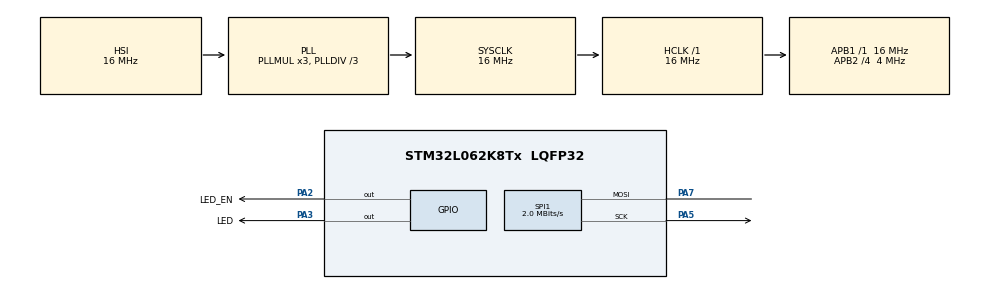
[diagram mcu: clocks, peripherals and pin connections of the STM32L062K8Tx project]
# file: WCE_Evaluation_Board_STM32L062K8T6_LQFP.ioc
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Dma.Request0=SPI1_RX
Dma.Request1=SPI1_TX
Dma.SPI1_RX.0.Direction=DMA_PERIPH_TO_MEMORY
Dma.SPI1_RX.0.Instance=DMA1_Channel2
Dma.SPI1_RX.0.MemDataAlignment=DMA_MDATAALIGN_BYTE
Dma.SPI1_RX.0.MemInc=DMA_MINC_ENABLE
Dma.SPI1_RX.0.Mode=DMA_NORMAL
Dma.SPI1_RX.0.PeriphDataAlignment=DMA_PDATAALIGN_BYTE
Dma.SPI1_RX.0.PeriphInc=DMA_PINC_DISABLE
Dma.SPI1_RX.0.Priority=DMA_PRIORITY_LOW
Dma.SPI1_TX.1.Direction=DMA_MEMORY_TO_PERIPH
Dma.SPI1_TX.1.Instance=DMA1_Channel3
Dma.SPI1_TX.1.MemDataAlignment=DMA_MDATAALIGN_BYTE
Dma.SPI1_TX.1.MemInc=DMA_MINC_ENABLE
Dma.SPI1_TX.1.Mode=DMA_NORMAL
Dma.SPI1_TX.1.PeriphDataAlignment=DMA_PDATAALIGN_BYTE
Dma.SPI1_TX.1.PeriphInc=DMA_PINC_DISABLE
Dma.SPI1_TX.1.Priority=DMA_PRIORITY_LOW
Mcu.Family=STM32L0
Mcu.Name=STM32L062K8Tx
Mcu.Package=LQFP32
NVIC.DMA1_Channel2_3_IRQn=true\:0\:0\:false\:false\:true\:false\:true
NVIC.TIM2_IRQn=true\:0\:0\:false\:false\:true\:true\:true
PA13.Mode=Serial_Wire
PA13.Signal=SYS_SWDIO
PA14.Mode=Serial_Wire
PA14.Signal=SYS_SWCLK
PA2.GPIO_Label=LED_EN
PA2.Signal=GPIO_Output
PA3.GPIO_Label=LED
PA3.Signal=GPIO_Output
PA5.Mode=Simplex_Bidirectional_Master
PA5.Signal=SPI1_SCK
PA7.Mode=Simplex_Bidirectional_Master
PA7.Signal=SPI1_MOSI
ProjectManager.HeapSize=0x200
ProjectManager.StackSize=0x400
ProjectManager.TargetToolchain=STM32CubeIDE
RCC.AHBFreq_Value=16000000
RCC.APB1Freq_Value=16000000
RCC.APB1TimFreq_Value=16000000
RCC.APB2CLKDivider=RCC_HCLK_DIV4
RCC.APB2Freq_Value=4000000
RCC.APB2TimFreq_Value=8000000
RCC.HCLKFreq_Value=16000000
RCC.HSI16_VALUE=16000000
RCC.HSI48_VALUE=48000000
RCC.HSI_VALUE=16000000
RCC.LSE_VALUE=32768
RCC.MSI_VALUE=2097000
RCC.PLLDIV=RCC_PLLDIV_3
RCC.SYSCLKFreq_VALUE=16000000
RCC.SYSCLKSource=RCC_SYSCLKSOURCE_PLLCLK
RCC.VCOOutputFreq_Value=48000000
SPI1.BaudRatePrescaler=SPI_BAUDRATEPRESCALER_2
SPI1.CalculateBaudRate=2.0 MBits/s
SPI1.Direction=SPI_DIRECTION_1LINE
SPI1.Mode=SPI_MODE_MASTER
SPI1.VirtualType=VM_MASTER
TIM2.Period=100
TIM2.Prescaler=4
VP_TIM2_VS_ClockSourceINT.Mode=Internal
board=custom

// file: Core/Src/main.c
/* USER CODE BEGIN Header */
/**
  ******************************************************************************
  * @file           : main.c
  * @brief          : Main program body
  ******************************************************************************
  * @attention
  *
  * <h2><center>&copy; Copyright (c) 2021 STMicroelectronics.
  * All rights reserved.</center></h2>
  *
  * This software component is licensed by ST under BSD 3-Clause license,
  * the "License"; You may not use this file except in compliance with the
  * License. You may obtain a copy of the License at:
  *                        opensource.org/licenses/BSD-3-Clause
  *
  ******************************************************************************
  */
/* USER CODE END Header */
#include "main.h"

SPI_HandleTypeDef hspi1;
DMA_HandleTypeDef hdma_spi1_rx;
DMA_HandleTypeDef hdma_spi1_tx;

TIM_HandleTypeDef htim2;

void SystemClock_Config(void);
static void MX_GPIO_Init(void);
static void MX_DMA_Init(void);
static void MX_SPI1_Init(void);
static void MX_TIM2_Init(void);
/* USER CODE BEGIN PFP */
static void Toggle_GPIO_pin_Init(void);
/* USER CODE END PFP */

/* USER CODE BEGIN 0 */
uint8_t ui8TimPulse = 75; // set duty cycle [%]
/* USER CODE END 0 */

int main(void)
{
  /* USER CODE BEGIN 1 */
	//Due to small ram (8KB) we must divide frame array by 32 (157440/32=4920)
	//The resulting problem with this is that the beginning of every 10th row will be over exposed.
	//uint8_t received_data[4920] = {0}; // size of one frame: 157440
	//uint8_t test[2000] = {0}; //2000 gives hard fault. 1000 does not. Seems like the RAM is the limitation.

	uint8_t received_data[4920] = {0};  //320*492 = 157440    157440/32 = 4920
	uint8_t empty_data[966] = {0};
	uint8_t test_pattern[6];
	test_pattern[0] = 0b10010000;
	test_pattern[1] = 0b11000001;
	test_pattern[2] = 0b00101010;
	test_pattern[3] = 0b10010010;
	test_pattern[4] = 0b00000101;
	test_pattern[5] = 0b00101000;

	uint8_t on_time = 0;
	uint8_t off_time = 0;
	double period = 50; //ms

	double duty = 100;

  /* USER CODE END 1 */

  /* MCU Configuration--------------------------------------------------------*/

  /* Reset of all peripherals, Initializes the Flash interface and the Systick. */
  HAL_Init();

  /* Configure the system clock */
  SystemClock_Config();

  /* Initialize all configured peripherals */
  MX_GPIO_Init();
  MX_DMA_Init();
  MX_SPI1_Init();
  MX_TIM2_Init();
  /* USER CODE BEGIN 2 */

  on_time = period * (duty/100);
  off_time = period * (1-(duty/100));

//  HAL_TIM_Base_Start_IT(&htim2);
//  HAL_TIM_PWM_Start(&htim2, TIM_CHANNEL_4);

  //---- TURN ON CAMERA LEDs ----
 // HAL_GPIO_WritePin(LED_GPIO_Port, LED_Pin, GPIO_PIN_SET);

 // ---- ACTIVATION CLOCK PULSE -----
    HAL_SPI_DeInit(&hspi1);
    Toggle_GPIO_pin_Init();
    GPIOA -> ODR ^= GPIO_PIN_5;
    HAL_Delay(1);
    GPIOA -> ODR ^= GPIO_PIN_5;

    //---- REGISTER CONFIGURATION - 48-bit (4PP) -----
    MX_SPI1_Init();
    HAL_SPI_Transmit(&hspi1, test_pattern, 6, 1000);

    //---- WAIT FOR IDLE START-UP ----
    HAL_Delay(1);

    //---- 10 CLOCKS -----
    HAL_SPI_DeInit(&hspi1);
    Toggle_GPIO_pin_Init();
    for (uint8_t i = 0; i < 20; i++)
      {
  	  HAL_GPIO_TogglePin(GPIOA, GPIO_PIN_5);
  	  HAL_Delay(1);
      }

    //---- 12 CLOCKS -----
    for (uint8_t i = 0; i < 24; i++)
      {
  	  HAL_GPIO_TogglePin(GPIOA, GPIO_PIN_5);
  	  HAL_Delay(1);
      }

    //---- INITIAL PRE-SYNC MODE: RECEIVE 492 PP FROM CAMERA -----
    MX_DMA_Init();
    MX_SPI1_Init();
    HAL_SPI_Receive(&hspi1, received_data, 492, 100);

    //---- SYNC MODE -----
    HAL_SPI_Receive(&hspi1, received_data, 984, 100);

    //---- DELAY MODE -----
    HAL_SPI_Receive(&hspi1, received_data, 984, 100);

    //---- READOUT MODE -----
    HAL_SPI_Receive(&hspi1, received_data, 4920, 100); // 1
    HAL_SPI_Receive(&hspi1, received_data, 4920, 100); // 2
    HAL_SPI_Receive(&hspi1, received_data, 4920, 100); // 3
    HAL_SPI_Receive(&hspi1, received_data, 4920, 100); // 4
    HAL_SPI_Receive(&hspi1, received_data, 4920, 100); // 5
    HAL_SPI_Receive(&hspi1, received_data, 4920, 100); // 6
    HAL_SPI_Receive(&hspi1, received_data, 4920, 100); // 7
    HAL_SPI_Receive(&hspi1, received_data, 4920, 100); // 8
    HAL_SPI_Receive(&hspi1, received_data, 4920, 100); // 9
    HAL_SPI_Receive(&hspi1, received_data, 4920, 100); // 10
    HAL_SPI_Receive(&hspi1, received_data, 4920, 100); // 11
    HAL_SPI_Receive(&hspi1, received_data, 4920, 100); // 12
    HAL_SPI_Receive(&hspi1, received_data, 4920, 100); // 13
    HAL_SPI_Receive(&hspi1, received_data, 4920, 100); // 14
    HAL_SPI_Receive(&hspi1, received_data, 4920, 100); // 15
    HAL_SPI_Receive(&hspi1, received_data, 4920, 100); // 16
    HAL_SPI_Receive(&hspi1, received_data, 4920, 100); // 17
    HAL_SPI_Receive(&hspi1, received_data, 4920, 100); // 18
    HAL_SPI_Receive(&hspi1, received_data, 4920, 100); // 19
    HAL_SPI_Receive(&hspi1, received_data, 4920, 100); // 20
    HAL_SPI_Receive(&hspi1, received_data, 4920, 100); // 21
    HAL_SPI_Receive(&hspi1, received_data, 4920, 100); // 22
    HAL_SPI_Receive(&hspi1, received_data, 4920, 100); // 23
    HAL_SPI_Receive(&hspi1, received_data, 4920, 100); // 24
    HAL_SPI_Receive(&hspi1, received_data, 4920, 100); // 25
    HAL_SPI_Receive(&hspi1, received_data, 4920, 100); // 26
    HAL_SPI_Receive(&hspi1, received_data, 4920, 100); // 27
    HAL_SPI_Receive(&hspi1, received_data, 4920, 100); // 28
    HAL_SPI_Receive(&hspi1, received_data, 4920, 100); // 29
    HAL_SPI_Receive(&hspi1, received_data, 4920, 100); // 30
    HAL_SPI_Receive(&hspi1, received_data, 4920, 100); // 31
    HAL_SPI_Receive(&hspi1, received_data, 4920, 100); // 32

    //---- END OF FRAME -----
    HAL_SPI_Receive(&hspi1, received_data, 8, 100);

  /* USER CODE END 2 */

  /* Infinite loop */
  /* USER CODE BEGIN WHILE */
  while (1)
  {
	  /*LED brightness control*/
//	  GPIOA->BSRR =(1<<2);
//	  HAL_Delay(on_time);
//	  GPIOA->BSRR =(1<<18);
//	  HAL_Delay(off_time);

//	  //---- TURN ON CAMERA LEDs ----
//	  HAL_GPIO_WritePin(LED_GPIO_Port, LED_Pin, GPIO_PIN_SET);
//	  HAL_GPIO_WritePin(LED_GPIO_Port, LED_Pin, GPIO_PIN_RESET);
//	  GPIOA->BSRR =(1<<3);
//	  HAL_Delay(on_time);
//	  GPIOA->BSRR =(1<<19);
//	  HAL_Delay(off_time);
//	  ---- TURN ON EXTRA LEDs ----
//	  HAL_GPIO_WritePin(LED_EN_GPIO_Port, LED_EN_Pin, GPIO_PIN_SET);
//	  HAL_Delay(100);
//	  HAL_GPIO_WritePin(LED_EN_GPIO_Port, LED_EN_Pin, GPIO_PIN_RESET);
//	  HAL_Delay(100);

	  //---- REGISTER CONFIGURATION - 48-bit (4PP) -----
	  HAL_SPI_Transmit(&hspi1, test_pattern, 6, 1000);

	  //---- INTERFACE MODE -----
	  HAL_SPI_Transmit(&hspi1, empty_data, 966, 1000);

	  //---- SYNC and DELAY MODE -----
	  HAL_SPI_Receive(&hspi1, received_data, 1968, 100);

	  //---- READOUT MODE -----
	  HAL_SPI_Receive(&hspi1, received_data, 4920, 100); // 1
	  HAL_SPI_Receive(&hspi1, received_data, 4920, 100); // 2
	  HAL_SPI_Receive(&hspi1, received_data, 4920, 100); // 3
	  HAL_SPI_Receive(&hspi1, received_data, 4920, 100); // 4
	  HAL_SPI_Receive(&hspi1, received_data, 4920, 100); // 5
	  HAL_SPI_Receive(&hspi1, received_data, 4920, 100); // 6
	  HAL_SPI_Receive(&hspi1, received_data, 4920, 100); // 7
	  HAL_SPI_Receive(&hspi1, received_data, 4920, 100); // 8
	  HAL_SPI_Receive(&hspi1, received_data, 4920, 100); // 9
	  HAL_SPI_Receive(&hspi1, received_data, 4920, 100); // 10
	  HAL_SPI_Receive(&hspi1, received_data, 4920, 100); // 11
	  HAL_SPI_Receive(&hspi1, received_data, 4920, 100); // 12
	  HAL_SPI_Receive(&hspi1, received_data, 4920, 100); // 13
	  HAL_SPI_Receive(&hspi1, received_data, 4920, 100); // 14
	  HAL_SPI_Receive(&hspi1, received_data, 4920, 100); // 15
	  HAL_SPI_Receive(&hspi1, received_data, 4920, 100); // 16
	  HAL_SPI_Receive(&hspi1, received_data, 4920, 100); // 17
	  HAL_SPI_Receive(&hspi1, received_data, 4920, 100); // 18
	  HAL_SPI_Receive(&hspi1, received_data, 4920, 100); // 19
	  HAL_SPI_Receive(&hspi1, received_data, 4920, 100); // 20
	  HAL_SPI_Receive(&hspi1, received_data, 4920, 100); // 21
	  HAL_SPI_Receive(&hspi1, received_data, 4920, 100); // 22
	  HAL_SPI_Receive(&hspi1, received_data, 4920, 100); // 23
	  HAL_SPI_Receive(&hspi1, received_data, 4920, 100); // 24
	  HAL_SPI_Receive(&hspi1, received_data, 4920, 100); // 25
	  HAL_SPI_Receive(&hspi1, received_data, 4920, 100); // 26
	  HAL_SPI_Receive(&hspi1, received_data, 4920, 100); // 27
	  HAL_SPI_Receive(&hspi1, received_data, 4920, 100); // 28
	  HAL_SPI_Receive(&hspi1, received_data, 4920, 100); // 29
	  HAL_SPI_Receive(&hspi1, received_data, 4920, 100); // 30
	  HAL_SPI_Receive(&hspi1, received_data, 4920, 100); // 31
	  HAL_SPI_Receive(&hspi1, received_data, 4920, 100); // 32

	  //---- END OF FRAME -----
	  HAL_SPI_Receive(&hspi1, received_data, 12, 100);

    /* USER CODE END WHILE */

  }
}

void SystemClock_Config(void)
{
  RCC_OscInitTypeDef RCC_OscInitStruct = {0};
  RCC_ClkInitTypeDef RCC_ClkInitStruct = {0};

  /** Configure the main internal regulator output voltage
  */
  __HAL_PWR_VOLTAGESCALING_CONFIG(PWR_REGULATOR_VOLTAGE_SCALE1);
  /** Initializes the RCC Oscillators according to the specified parameters
  * in the RCC_OscInitTypeDef structure.
  */
  RCC_OscInitStruct.OscillatorType = RCC_OSCILLATORTYPE_HSI;
  RCC_OscInitStruct.HSIState = RCC_HSI_ON;
  RCC_OscInitStruct.HSICalibrationValue = RCC_HSICALIBRATION_DEFAULT;
  RCC_OscInitStruct.PLL.PLLState = RCC_PLL_ON;
  RCC_OscInitStruct.PLL.PLLSource = RCC_PLLSOURCE_HSI;
  RCC_OscInitStruct.PLL.PLLMUL = RCC_PLLMUL_3;
  RCC_OscInitStruct.PLL.PLLDIV = RCC_PLLDIV_3;
  if (HAL_RCC_OscConfig(&RCC_OscInitStruct) != HAL_OK)
  {
    Error_Handler();
  }
  /** Initializes the CPU, AHB and APB buses clocks
  */
  RCC_ClkInitStruct.ClockType = RCC_CLOCKTYPE_HCLK|RCC_CLOCKTYPE_SYSCLK
                              |RCC_CLOCKTYPE_PCLK1|RCC_CLOCKTYPE_PCLK2;
  RCC_ClkInitStruct.SYSCLKSource = RCC_SYSCLKSOURCE_PLLCLK;
  RCC_ClkInitStruct.AHBCLKDivider = RCC_SYSCLK_DIV1;
  RCC_ClkInitStruct.APB1CLKDivider = RCC_HCLK_DIV1;
  RCC_ClkInitStruct.APB2CLKDivider = RCC_HCLK_DIV4;

  if (HAL_RCC_ClockConfig(&RCC_ClkInitStruct, FLASH_LATENCY_0) != HAL_OK)
  {
    Error_Handler();
  }
}

static void MX_SPI1_Init(void)
{

  /* SPI1 parameter configuration*/
  hspi1.Instance = SPI1;
  hspi1.Init.Mode = SPI_MODE_MASTER;
  hspi1.Init.Direction = SPI_DIRECTION_1LINE;
  hspi1.Init.DataSize = SPI_DATASIZE_8BIT;
  hspi1.Init.CLKPolarity = SPI_POLARITY_LOW;
  hspi1.Init.CLKPhase = SPI_PHASE_1EDGE;
  hspi1.Init.NSS = SPI_NSS_SOFT;
  hspi1.Init.BaudRatePrescaler = SPI_BAUDRATEPRESCALER_2;
  hspi1.Init.FirstBit = SPI_FIRSTBIT_MSB;
  hspi1.Init.TIMode = SPI_TIMODE_DISABLE;
  hspi1.Init.CRCCalculation = SPI_CRCCALCULATION_DISABLE;
  hspi1.Init.CRCPolynomial = 7;
  if (HAL_SPI_Init(&hspi1) != HAL_OK)
  {
    Error_Handler();
  }

}

static void MX_TIM2_Init(void)
{

  TIM_ClockConfigTypeDef sClockSourceConfig = {0};
  TIM_MasterConfigTypeDef sMasterConfig = {0};

  htim2.Instance = TIM2;
  htim2.Init.Prescaler = 4;
  htim2.Init.CounterMode = TIM_COUNTERMODE_UP;
  htim2.Init.Period = 100;
  htim2.Init.ClockDivision = TIM_CLOCKDIVISION_DIV1;
  htim2.Init.AutoReloadPreload = TIM_AUTORELOAD_PRELOAD_DISABLE;
  if (HAL_TIM_Base_Init(&htim2) != HAL_OK)
  {
    Error_Handler();
  }
  sClockSourceConfig.ClockSource = TIM_CLOCKSOURCE_INTERNAL;
  if (HAL_TIM_ConfigClockSource(&htim2, &sClockSourceConfig) != HAL_OK)
  {
    Error_Handler();
  }
  sMasterConfig.MasterOutputTrigger = TIM_TRGO_RESET;
  sMasterConfig.MasterSlaveMode = TIM_MASTERSLAVEMODE_DISABLE;
  if (HAL_TIMEx_MasterConfigSynchronization(&htim2, &sMasterConfig) != HAL_OK)
  {
    Error_Handler();
  }

}

static void MX_DMA_Init(void)
{

  /* DMA controller clock enable */
  __HAL_RCC_DMA1_CLK_ENABLE();

  /* DMA interrupt init */
  /* DMA1_Channel2_3_IRQn interrupt configuration */
  HAL_NVIC_SetPriority(DMA1_Channel2_3_IRQn, 0, 0);
  HAL_NVIC_EnableIRQ(DMA1_Channel2_3_IRQn);

}

static void MX_GPIO_Init(void)
{
  GPIO_InitTypeDef GPIO_InitStruct = {0};

  /* GPIO Ports Clock Enable */
  __HAL_RCC_GPIOA_CLK_ENABLE();

  /*Configure GPIO pin Output Level */
  HAL_GPIO_WritePin(GPIOA, LED_EN_Pin|LED_Pin, GPIO_PIN_RESET);

  /*Configure GPIO pins : LED_EN_Pin LED_Pin */
  GPIO_InitStruct.Pin = LED_EN_Pin|LED_Pin;
  GPIO_InitStruct.Mode = GPIO_MODE_OUTPUT_PP;
  GPIO_InitStruct.Pull = GPIO_NOPULL;
  GPIO_InitStruct.Speed = GPIO_SPEED_FREQ_LOW;
  HAL_GPIO_Init(GPIOA, &GPIO_InitStruct);

}

/* USER CODE BEGIN 4 */
static void Toggle_GPIO_pin_Init(void)
{
  GPIO_InitTypeDef GPIO_InitStruct = {0};

  /*Configure GPIO pin Output Level */
  HAL_GPIO_WritePin(GPIOA, GPIO_PIN_5, GPIO_PIN_RESET);

  /*Configure GPIO pin : PA6 */
  GPIO_InitStruct.Pin = GPIO_PIN_5;
  GPIO_InitStruct.Mode = GPIO_MODE_OUTPUT_PP;
  GPIO_InitStruct.Pull = GPIO_NOPULL;
  GPIO_InitStruct.Speed = GPIO_SPEED_FREQ_LOW;
  HAL_GPIO_Init(GPIOA, &GPIO_InitStruct);
}
/* USER CODE END 4 */

void Error_Handler(void)
{
  __disable_irq();
  while (1)
  {
  }
}

/************************ (C) COPYRIGHT STMicroelectronics *****END OF FILE****/
